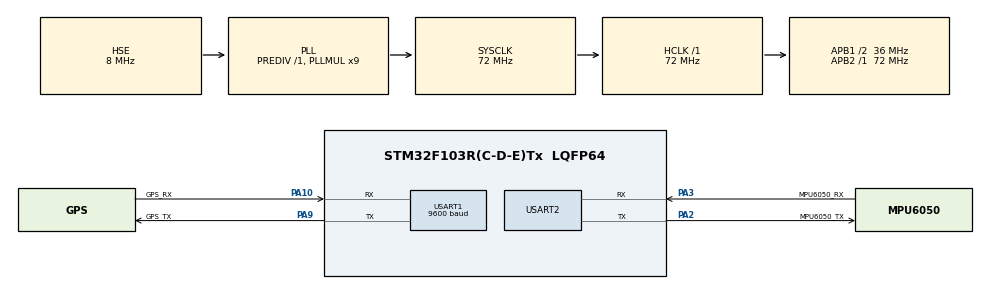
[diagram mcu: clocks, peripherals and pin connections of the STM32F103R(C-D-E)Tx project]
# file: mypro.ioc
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Dma.Request0=USART1_RX
Dma.Request1=USART2_RX
Dma.USART1_RX.0.Direction=DMA_PERIPH_TO_MEMORY
Dma.USART1_RX.0.Instance=DMA1_Channel5
Dma.USART1_RX.0.MemDataAlignment=DMA_MDATAALIGN_BYTE
Dma.USART1_RX.0.MemInc=DMA_MINC_ENABLE
Dma.USART1_RX.0.Mode=DMA_NORMAL
Dma.USART1_RX.0.PeriphDataAlignment=DMA_PDATAALIGN_BYTE
Dma.USART1_RX.0.PeriphInc=DMA_PINC_DISABLE
Dma.USART1_RX.0.Priority=DMA_PRIORITY_LOW
Dma.USART2_RX.1.Direction=DMA_PERIPH_TO_MEMORY
Dma.USART2_RX.1.Instance=DMA1_Channel6
Dma.USART2_RX.1.MemDataAlignment=DMA_MDATAALIGN_BYTE
Dma.USART2_RX.1.MemInc=DMA_MINC_ENABLE
Dma.USART2_RX.1.Mode=DMA_NORMAL
Dma.USART2_RX.1.PeriphDataAlignment=DMA_PDATAALIGN_BYTE
Dma.USART2_RX.1.PeriphInc=DMA_PINC_DISABLE
Dma.USART2_RX.1.Priority=DMA_PRIORITY_LOW
Mcu.Family=STM32F1
Mcu.Name=STM32F103R(C-D-E)Tx
Mcu.Package=LQFP64
NVIC.DMA1_Channel5_IRQn=true\:0\:0\:false\:true\:true\:4\:false
NVIC.DMA1_Channel6_IRQn=true\:0\:0\:false\:true\:true\:5\:false
NVIC.PriorityGroup=NVIC_PRIORITYGROUP_4
NVIC.TIM3_IRQn=true\:0\:0\:false\:true\:true\:6\:true
NVIC.TIM5_IRQn=true\:0\:0\:false\:true\:true\:3\:true
NVIC.USART1_IRQn=true\:0\:0\:false\:true\:true\:1\:true
NVIC.USART2_IRQn=true\:0\:0\:false\:true\:true\:2\:true
PA10.GPIO_Label=GPS_RX
PA10.Mode=Asynchronous
PA10.Signal=USART1_RX
PA13.Mode=Serial_Wire
PA13.Signal=SYS_JTMS-SWDIO
PA14.Mode=Serial_Wire
PA14.Signal=SYS_JTCK-SWCLK
PA2.GPIO_Label=MPU6050_TX
PA2.Mode=Asynchronous
PA2.Signal=USART2_TX
PA3.GPIO_Label=MPU6050_RX
PA3.Mode=Asynchronous
PA3.Signal=USART2_RX
PA9.GPIO_Label=GPS_TX
PA9.Mode=Asynchronous
PA9.Signal=USART1_TX
PD0-OSC_IN.Mode=HSE-External-Oscillator
PD0-OSC_IN.Signal=RCC_OSC_IN
PD1-OSC_OUT.Mode=HSE-External-Oscillator
PD1-OSC_OUT.Signal=RCC_OSC_OUT
ProjectManager.HeapSize=0x200
ProjectManager.StackSize=0x400
ProjectManager.TargetToolchain=MDK-ARM V5
RCC.AHBFreq_Value=72000000
RCC.APB1CLKDivider=RCC_HCLK_DIV2
RCC.APB1Freq_Value=36000000
RCC.APB1TimFreq_Value=72000000
RCC.APB2Freq_Value=72000000
RCC.APB2TimFreq_Value=72000000
RCC.HCLKFreq_Value=72000000
RCC.PLLMUL=RCC_PLL_MUL9
RCC.PLLSourceVirtual=RCC_PLLSOURCE_HSE
RCC.SYSCLKFreq_VALUE=72000000
RCC.SYSCLKSource=RCC_SYSCLKSOURCE_PLLCLK
RCC.USBFreq_Value=48000000
RCC.USBPrescaler=RCC_USBCLKSOURCE_PLL_DIV1_5
TIM3.Period=1000-1
TIM3.Prescaler=7200-1
TIM5.Period=3-1
TIM5.Prescaler=24-1
USART1.BaudRate=9600
USART1.VirtualMode=VM_ASYNC
USART2.VirtualMode=VM_ASYNC
VP_TIM3_VS_ClockSourceINT.Mode=Internal
VP_TIM5_VS_ClockSourceINT.Mode=Internal
board=mypro

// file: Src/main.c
/**
  ******************************************************************************
  * @file           : main.c
  * @brief          : Main program body
  ******************************************************************************
  ** This notice applies to any and all portions of this file
  * that are not between comment pairs USER CODE BEGIN and
  * USER CODE END. Other portions of this file, whether
  * inserted by the user or by software development tools
  * are owned by their respective copyright owners.
  *
  * COPYRIGHT(c) 2018 STMicroelectronics
  *
  * Redistribution and use in source and binary forms, with or without modification,
  * are permitted provided that the following conditions are met:
  *   1. Redistributions of source code must retain the above copyright notice,
  *      this list of conditions and the following disclaimer.
  *   2. Redistributions in binary form must reproduce the above copyright notice,
  *      this list of conditions and the following disclaimer in the documentation
  *      and/or other materials provided with the distribution.
  *   3. Neither the name of STMicroelectronics nor the names of its contributors
  *      may be used to endorse or promote products derived from this software
  *      without specific prior written permission.
  *
  * THIS SOFTWARE IS PROVIDED BY THE COPYRIGHT HOLDERS AND CONTRIBUTORS "AS IS"
  * AND ANY EXPRESS OR IMPLIED WARRANTIES, INCLUDING, BUT NOT LIMITED TO, THE
  * IMPLIED WARRANTIES OF MERCHANTABILITY AND FITNESS FOR A PARTICULAR PURPOSE ARE
  * DISCLAIMED. IN NO EVENT SHALL THE COPYRIGHT HOLDER OR CONTRIBUTORS BE LIABLE
  * FOR ANY DIRECT, INDIRECT, INCIDENTAL, SPECIAL, EXEMPLARY, OR CONSEQUENTIAL
  * DAMAGES (INCLUDING, BUT NOT LIMITED TO, PROCUREMENT OF SUBSTITUTE GOODS OR
  * SERVICES; LOSS OF USE, DATA, OR PROFITS; OR BUSINESS INTERRUPTION) HOWEVER
  * CAUSED AND ON ANY THEORY OF LIABILITY, WHETHER IN CONTRACT, STRICT LIABILITY,
  * OR TORT (INCLUDING NEGLIGENCE OR OTHERWISE) ARISING IN ANY WAY OUT OF THE USE
  * OF THIS SOFTWARE, EVEN IF ADVISED OF THE POSSIBILITY OF SUCH DAMAGE.
  *
  ******************************************************************************
  */
#include "main.h"
#include "stm32f1xx_hal.h"
#include "dma.h"
#include "tim.h"
#include "usart.h"
#include "gpio.h"

/* USER CODE BEGIN Includes */
#include "string.h"
#include "stdlib.h"
#include "mpu6050.h"
#include "gps.h"
#include "lcd.h"
#include "math.h"
/* USER CODE END Includes */

/* USER CODE BEGIN PV */
/* Private variables ---------------------------------------------------------*/
static uint8_t MPU6050Buffer[30];
static uint8_t MPU6050Buffer1[30];
static uint8_t ClearBuffer[30] = {0};
uint16_t gTim3Cnt;
uint8_t gTim3Flag;
uint8_t gTim3UpdataFlag;

uint8_t gInitFlag;
uint8_t gNGPSflag;
float gZangle;
float gSpeed;
float gAngle;
double gDistance;
float gInslongitude;
float gInslatitude;
double gEarthRadio;

uint8_t UTC[30];
uint8_t LatLongInfo[30];
uint8_t PositingInfo[30];
uint8_t GroundSpeedInfo[30];
uint8_t GroundCourseinfo[30];

/* USER CODE END PV */

void SystemClock_Config(void);
static void MX_NVIC_Init(void);

/* USER CODE BEGIN PFP */
/* Private function prototypes -----------------------------------------------*/
float Du2Fen(float data)
{
	float re;
	uint16_t du;
	uint16_t fen;
	float miao;
	du = (uint16_t)data;
	fen = (uint16_t)((data - du) * 60.0);
	miao = (data - du) * 60.0 - fen;
	re = du * 1000 + fen + miao;
	return re;
}
/* USER CODE END PFP */

int main(void)
{
  /* USER CODE BEGIN 1 */
	uint8_t data = 0x52;
	float ggInslongitude;
	float ggInslatitude;
	float angle;
	gEarthRadio = 6371393.0;

  /* USER CODE END 1 */

  /* MCU Configuration----------------------------------------------------------*/

  /* Reset of all peripherals, Initializes the Flash interface and the Systick. */
  HAL_Init();

  /* Configure the system clock */
  SystemClock_Config();

  /* Initialize all configured peripherals */
  MX_GPIO_Init();
  MX_DMA_Init();
  MX_USART1_UART_Init();
  MX_USART2_UART_Init();
  MX_TIM5_Init();
  MX_TIM3_Init();

  /* Initialize interrupts */
  MX_NVIC_Init();
  /* USER CODE BEGIN 2 */
  gInitFlag = 0;
  LCD_Init();
  LED_Init();
  MPU6050_Init();
  HAL_TIM_Base_Start_IT(&htim3);
  //HAL_TIM_Base_Start_IT(&htim5);
  __HAL_UART_ENABLE_IT(&huart1,UART_IT_RXNE);
  __HAL_UART_ENABLE_IT(&huart2,UART_IT_RXNE);

  POINT_COLOR=RED;
  LCD_Clear(BLUE);
  LCD_Display_Dir(1);

	LCD_ShowString(40,40,500,12,12,(uint8_t*)"Horizontal placement,calibration...");
	HAL_Delay(4500);
	HAL_UART_Transmit(&huart2,&data,1,0xFFFF);
	LCD_Clear(BLUE);
	LCD_ShowString(40,40,500,12,12,(uint8_t*)"calibration OK...");
	HAL_Delay(500);
	POINT_COLOR=RED;
	LCD_Clear(BLUE);
	LCD_Display_Dir(1);

  /* USER CODE END 2 */

  /* Infinite loop */
  while (1)
  {

  /* USER CODE BEGIN 3 */
	  GPS_dataPrase();
	  MPU6050_PraseData();

	  if(1 == gTim3Flag)
	  {
		gTim3Flag = 0;

		  if(1 == gMPU6050_Info.flag)
		  {
			  sprintf((char*)MPU6050Buffer,"ax=%.2f ay=%.2f az=%.2f",gMPU6050_Info.ax,gMPU6050_Info.ay,gMPU6050_Info.az);
			  sprintf((char*)MPU6050Buffer1,"Ax=%.2f Ay=%.2f Az=%.2f",gMPU6050_Info.anglex,gMPU6050_Info.angley,gMPU6050_Info.anglez);

			  LCD_ShowString(20,150,360,12,12,ClearBuffer);
			  LCD_ShowString(20,170,360,12,12,ClearBuffer);

			  LCD_ShowString(40,40,200,24,24,(uint8_t*)"Navigation System");
			  LCD_ShowString(20,150,360,12,12,MPU6050Buffer);
			  LCD_ShowString(20,170,360,12,12,MPU6050Buffer1);
			  memset(MPU6050Buffer, 0, 30);
			  memset(MPU6050Buffer1,0, 30);
			  gMPU6050_Info.flag = 0;
		  }
		LED0=!LED0;
	  }
		  /* 惯性导航，GPS信号丢失之后的角度 - 1s */
	  if(gTim3UpdataFlag)
	  {
		gTim3UpdataFlag = 0;
		if(1 == gNGPSflag && 1 == gInitFlag)
		{
			gDistance += (gSpeed*0.514 + 4.9 * a[1]);

			//angle = Du2Fen(gZangle);
			ggInslongitude = gInslongitude + Du2Fen(180.0*3.14*(sin(angle/3.1415) * gDistance)/gEarthRadio);
//			gInslongitude = Du2Fen(gInslongitude) + atof(Save_Data.longitude);
//
//			gInslatitude = atof(Save_Data.latitude);
			ggInslatitude =  gInslatitude + Du2Fen(gMPU6050_Info.anglez - gZangle);

			sprintf((char *)LatLongInfo,"%.3f:N %.3f:W",ggInslatitude,ggInslongitude);
			LCD_ShowString(30,110,300,16,16,(uint8_t*)"                                        ");
			LCD_ShowString(30,110,300,16,16,LatLongInfo);
		}
		else
		{
			gDistance = 0;
			gInslongitude = 0;
			gInslatitude = 0;

		}
	  }

	  if(GPSDataFlag)
	  {
		POINT_COLOR=RED;
		LCD_Display_Dir(1);

		LCD_ShowString(5,5,360,12,12,(uint8_t*)ClearBuffer);//显示UTC时间信息
		LCD_ShowString(30,90,300,16,16,ClearBuffer);
		LCD_ShowString(30,110,300,16,16,ClearBuffer);
		LCD_ShowString(30,130,300,16,16,ClearBuffer);
		LCD_ShowString(40,40,200,24,24,(uint8_t*)"Navigation System");
		LCD_ShowString(5,5,360,12,12,(uint8_t*)UTC);//显示UTC时间信息
		LCD_ShowString(30,90,300,16,16,PositingInfo);
		LCD_ShowString(30,110,300,16,16,LatLongInfo);
		LCD_ShowString(30,130,300,16,16,GroundSpeedInfo);
		memset(UTC,0,30);
		memset(PositingInfo,0,30);
		memset(LatLongInfo,0,30);
		memset(GroundCourseinfo,0,30);
		GPSDataFlag = 0;
	  }

  }
  /* USER CODE END 3 */

}

void SystemClock_Config(void)
{

  RCC_OscInitTypeDef RCC_OscInitStruct;
  RCC_ClkInitTypeDef RCC_ClkInitStruct;

    /**Initializes the CPU, AHB and APB busses clocks
    */
  RCC_OscInitStruct.OscillatorType = RCC_OSCILLATORTYPE_HSE;
  RCC_OscInitStruct.HSEState = RCC_HSE_ON;
  RCC_OscInitStruct.HSEPredivValue = RCC_HSE_PREDIV_DIV1;
  RCC_OscInitStruct.HSIState = RCC_HSI_ON;
  RCC_OscInitStruct.PLL.PLLState = RCC_PLL_ON;
  RCC_OscInitStruct.PLL.PLLSource = RCC_PLLSOURCE_HSE;
  RCC_OscInitStruct.PLL.PLLMUL = RCC_PLL_MUL9;
  if (HAL_RCC_OscConfig(&RCC_OscInitStruct) != HAL_OK)
  {
    _Error_Handler(__FILE__, __LINE__);
  }

    /**Initializes the CPU, AHB and APB busses clocks
    */
  RCC_ClkInitStruct.ClockType = RCC_CLOCKTYPE_HCLK|RCC_CLOCKTYPE_SYSCLK
                              |RCC_CLOCKTYPE_PCLK1|RCC_CLOCKTYPE_PCLK2;
  RCC_ClkInitStruct.SYSCLKSource = RCC_SYSCLKSOURCE_PLLCLK;
  RCC_ClkInitStruct.AHBCLKDivider = RCC_SYSCLK_DIV1;
  RCC_ClkInitStruct.APB1CLKDivider = RCC_HCLK_DIV2;
  RCC_ClkInitStruct.APB2CLKDivider = RCC_HCLK_DIV1;

  if (HAL_RCC_ClockConfig(&RCC_ClkInitStruct, FLASH_LATENCY_2) != HAL_OK)
  {
    _Error_Handler(__FILE__, __LINE__);
  }

    /**Configure the Systick interrupt time
    */
  HAL_SYSTICK_Config(HAL_RCC_GetHCLKFreq()/1000);

    /**Configure the Systick
    */
  HAL_SYSTICK_CLKSourceConfig(SYSTICK_CLKSOURCE_HCLK);

  /* SysTick_IRQn interrupt configuration */
  HAL_NVIC_SetPriority(SysTick_IRQn, 0, 0);
}

/**
  * @brief NVIC Configuration.
  * @retval None
  */
static void MX_NVIC_Init(void)
{
  /* USART1_IRQn interrupt configuration */
  HAL_NVIC_SetPriority(USART1_IRQn, 0, 0);
  HAL_NVIC_EnableIRQ(USART1_IRQn);
  /* USART2_IRQn interrupt configuration */
  HAL_NVIC_SetPriority(USART2_IRQn, 0, 0);
  HAL_NVIC_EnableIRQ(USART2_IRQn);
  /* TIM5_IRQn interrupt configuration */
  HAL_NVIC_SetPriority(TIM5_IRQn, 0, 0);
  HAL_NVIC_EnableIRQ(TIM5_IRQn);
  /* DMA1_Channel5_IRQn interrupt configuration */
  HAL_NVIC_SetPriority(DMA1_Channel5_IRQn, 0, 0);
  HAL_NVIC_EnableIRQ(DMA1_Channel5_IRQn);
  /* DMA1_Channel6_IRQn interrupt configuration */
  HAL_NVIC_SetPriority(DMA1_Channel6_IRQn, 0, 0);
  HAL_NVIC_EnableIRQ(DMA1_Channel6_IRQn);
  /* TIM3_IRQn interrupt configuration */
  HAL_NVIC_SetPriority(TIM3_IRQn, 0, 0);
  HAL_NVIC_EnableIRQ(TIM3_IRQn);
}

/* USER CODE BEGIN 4 */
/**
  * @brief  Period elapsed callback in non blocking mode
  * @param  htim : TIM handle
  * @retval None
  */
void HAL_TIM_PeriodElapsedCallback(TIM_HandleTypeDef *htim)
{
  /* Prevent unused argument(s) compilation warning */
  UNUSED(htim);
  /* NOTE : This function Should not be modified, when the callback is needed,
            the __HAL_TIM_PeriodElapsedCallback could be implemented in the user file
   */
	if(htim->Instance == htim5.Instance)
	{
		timeCnt++;

	}

	if(htim->Instance == htim3.Instance)
	{
		gTim3Flag = 1;

		gTim3Cnt++;
		if(gTim3Cnt > 9)
		{
			gTim3UpdataFlag = 1;
			gTim3Cnt = 0;
		}
	}

}
/* USER CODE END 4 */

void _Error_Handler(char *file, int line)
{
  while(1)
  {
  }
}

/************************ (C) COPYRIGHT STMicroelectronics *****END OF FILE****/
